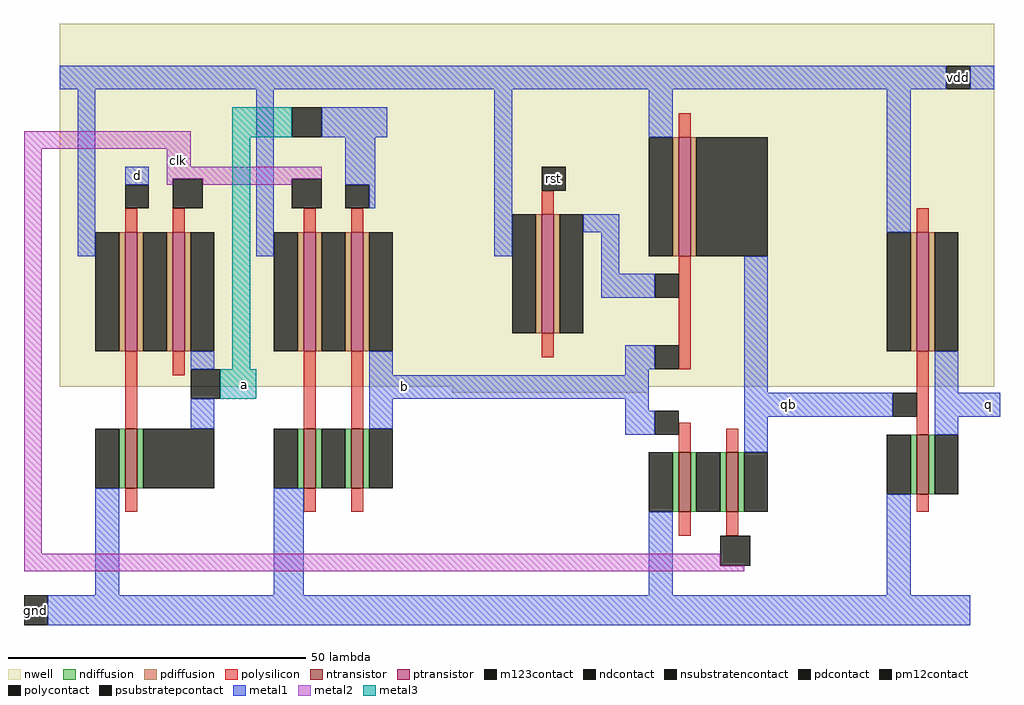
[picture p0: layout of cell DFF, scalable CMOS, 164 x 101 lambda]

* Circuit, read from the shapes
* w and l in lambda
.subckt DFF a b clk d gnd q qb rst vdd
M1 a d gnd gnd nfet w=10 l=2
M2 n1 clk gnd gnd nfet w=10 l=2
M3 b a n1 gnd nfet w=10 l=2
M4 n2 b gnd gnd nfet w=10 l=2
M5 qb clk n2 gnd nfet w=10 l=2
M6 q qb gnd gnd nfet w=10 l=2
M7 n3 d vdd vdd pfet w=20 l=2
M8 a clk n3 vdd pfet w=20 l=2
M9 n4 clk vdd vdd pfet w=20 l=2
M10 b a n4 vdd pfet w=20 l=2
M11 b rst vdd vdd pfet w=20 l=2
M12 qb b vdd vdd pfet w=20 l=2
M13 q qb vdd vdd pfet w=20 l=2
.ends

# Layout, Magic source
magic
tech scmos
<< nwell >>
rect 0 0 157 61
rect 66 -1 99 0
<< ntransistor >>
rect 11 -17 13 -7
rect 41 -17 43 -7
rect 49 -17 51 -7
rect 104 -21 106 -11
rect 112 -21 114 -11
rect 144 -18 146 -8
<< ptransistor >>
rect 11 6 13 26
rect 19 6 21 26
rect 41 6 43 26
rect 49 6 51 26
rect 81 9 83 29
rect 104 22 106 42
rect 144 6 146 26
<< ndiffusion >>
rect 10 -17 11 -7
rect 13 -17 14 -7
rect 40 -17 41 -7
rect 43 -17 44 -7
rect 48 -17 49 -7
rect 51 -17 52 -7
rect 103 -21 104 -11
rect 106 -21 107 -11
rect 111 -21 112 -11
rect 114 -21 115 -11
rect 143 -18 144 -8
rect 146 -18 147 -8
<< pdiffusion >>
rect 10 6 11 26
rect 13 6 14 26
rect 18 6 19 26
rect 21 6 22 26
rect 40 6 41 26
rect 43 6 44 26
rect 48 6 49 26
rect 51 6 52 26
rect 80 9 81 29
rect 83 9 84 29
rect 103 22 104 42
rect 106 22 107 42
rect 143 6 144 26
rect 146 6 147 26
<< ndcontact >>
rect 6 -17 10 -7
rect 14 -17 26 -7
rect 36 -17 40 -7
rect 44 -17 48 -7
rect 52 -17 56 -7
rect 99 -21 103 -11
rect 107 -21 111 -11
rect 115 -21 119 -11
rect 139 -18 143 -8
rect 147 -18 151 -8
<< pdcontact >>
rect 6 6 10 26
rect 14 6 18 26
rect 22 6 26 26
rect 36 6 40 26
rect 44 6 48 26
rect 52 6 56 26
rect 76 9 80 29
rect 84 9 88 29
rect 99 22 103 42
rect 107 22 119 42
rect 139 6 143 26
rect 147 6 151 26
<< psubstratepcontact >>
rect -6 -40 -2 -35
<< nsubstratencontact >>
rect 149 50 153 54
<< polysilicon >>
rect 104 42 106 46
rect 11 26 13 30
rect 19 26 21 30
rect 41 26 43 30
rect 49 26 51 30
rect 81 29 83 33
rect 144 26 146 30
rect 11 -7 13 6
rect 19 2 21 6
rect 41 -7 43 6
rect 49 -7 51 6
rect 81 5 83 9
rect 104 3 106 22
rect 104 -11 106 -6
rect 112 -11 114 -7
rect 144 -8 146 6
rect 11 -21 13 -17
rect 41 -21 43 -17
rect 49 -21 51 -17
rect 144 -21 146 -18
rect 104 -25 106 -21
rect 112 -25 114 -21
<< polycontact >>
rect 11 30 15 34
rect 48 30 52 34
rect 81 33 85 37
rect 100 15 104 19
rect 100 3 104 7
rect 100 -8 104 -4
rect 140 -5 144 -1
<< metal1 >>
rect 0 50 149 54
rect 153 50 157 54
rect 3 22 6 50
rect 11 34 15 37
rect 33 22 36 50
rect 44 42 55 47
rect 48 34 53 42
rect 52 30 53 34
rect 73 22 76 50
rect 99 42 103 50
rect 88 26 94 29
rect 91 19 94 26
rect 91 15 100 19
rect 22 3 26 6
rect 52 2 56 6
rect 95 3 100 7
rect 95 2 99 3
rect 52 -2 99 2
rect 22 -7 26 -2
rect 52 -7 56 -2
rect 95 -4 99 -2
rect 115 -1 119 22
rect 139 26 143 50
rect 147 -1 151 6
rect 95 -8 100 -4
rect 115 -5 140 -1
rect 147 -5 158 -1
rect 115 -11 119 -5
rect 147 -8 151 -5
rect 6 -35 10 -17
rect 36 -35 41 -17
rect 99 -35 103 -21
rect 139 -35 143 -18
rect -2 -40 153 -35
<< pm12contact >>
rect 19 30 24 35
rect 39 30 44 35
rect 111 -30 116 -25
<< metal2 >>
rect -6 40 22 43
rect -6 -28 -3 40
rect 18 37 22 40
rect 18 35 44 37
rect 18 34 19 35
rect 24 34 39 35
rect -6 -30 111 -28
rect -6 -31 115 -30
<< m123contact >>
rect 39 42 44 47
rect 22 -2 27 3
<< metal3 >>
rect 29 42 39 47
rect 29 3 32 42
rect 27 -2 33 3
<< labels >>
rlabel metal1 56 -2 60 2 1 b
rlabel metal1 154 -5 158 -1 7 q
rlabel metal1 11 34 15 37 5 d
rlabel polycontact 81 33 85 37 5 rst
rlabel nsubstratencontact 149 50 153 54 1 vdd
rlabel psubstratepcontact -6 -40 -2 -35 2 gnd
rlabel metal2 18 36 22 40 1 clk
rlabel metal1 119 -5 126 -1 1 qb
rlabel metal3 29 -2 33 3 1 a
<< end >>
